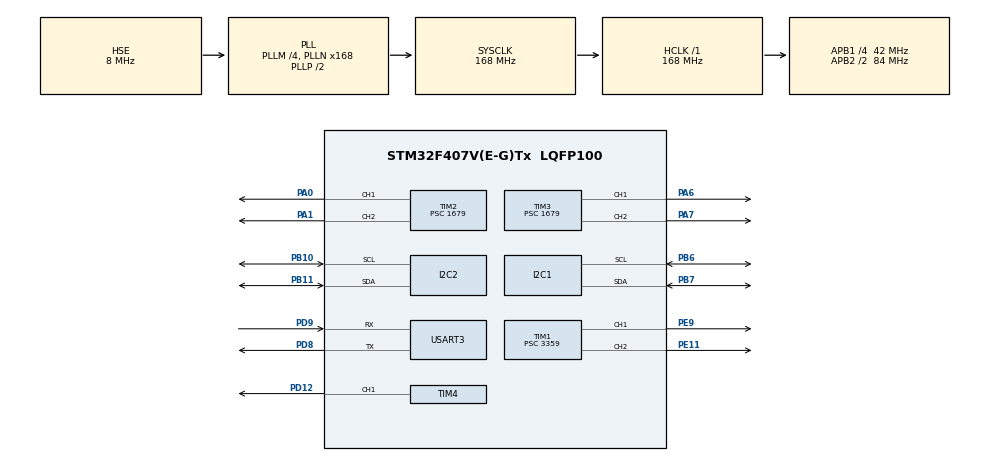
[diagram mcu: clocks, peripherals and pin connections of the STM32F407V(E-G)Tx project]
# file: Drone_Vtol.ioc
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Mcu.Family=STM32F4
Mcu.Name=STM32F407V(E-G)Tx
Mcu.Package=LQFP100
NVIC.PriorityGroup=NVIC_PRIORITYGROUP_4
NVIC.USART3_IRQn=true\:0\:0\:false\:false\:true\:true\:true\:true
PA0-WKUP.Signal=S_TIM2_CH1_ETR
PA1.Signal=S_TIM2_CH2
PA13.Mode=Serial_Wire
PA13.Signal=SYS_JTMS-SWDIO
PA14.Mode=Serial_Wire
PA14.Signal=SYS_JTCK-SWCLK
PA6.Signal=S_TIM3_CH1
PA7.Signal=S_TIM3_CH2
PB10.Mode=I2C
PB10.Signal=I2C2_SCL
PB11.Mode=I2C
PB11.Signal=I2C2_SDA
PB6.Mode=I2C
PB6.Signal=I2C1_SCL
PB7.Mode=I2C
PB7.Signal=I2C1_SDA
PD12.Signal=S_TIM4_CH1
PD8.Mode=Asynchronous
PD8.Signal=USART3_TX
PD9.Mode=Asynchronous
PD9.Signal=USART3_RX
PE11.Signal=S_TIM1_CH2
PE9.Signal=S_TIM1_CH1
PH0-OSC_IN.Mode=HSE-External-Oscillator
PH0-OSC_IN.Signal=RCC_OSC_IN
PH1-OSC_OUT.Mode=HSE-External-Oscillator
PH1-OSC_OUT.Signal=RCC_OSC_OUT
ProjectManager.HeapSize=0x200
ProjectManager.StackSize=0x400
ProjectManager.TargetToolchain=EWARM V8.50
RCC.48MHZClocksFreq_Value=84000000
RCC.AHBFreq_Value=168000000
RCC.APB1CLKDivider=RCC_HCLK_DIV4
RCC.APB1Freq_Value=42000000
RCC.APB1TimFreq_Value=84000000
RCC.APB2CLKDivider=RCC_HCLK_DIV2
RCC.APB2Freq_Value=84000000
RCC.APB2TimFreq_Value=168000000
RCC.CortexFreq_Value=168000000
RCC.HCLKFreq_Value=168000000
RCC.HSE_VALUE=8000000
RCC.HSI_VALUE=16000000
RCC.LSE_VALUE=32768
RCC.PLLM=4
RCC.PLLN=168
RCC.PLLSourceVirtual=RCC_PLLSOURCE_HSE
RCC.SYSCLKFreq_VALUE=168000000
RCC.SYSCLKSource=RCC_SYSCLKSOURCE_PLLCLK
RCC.VCOOutputFreq_Value=336000000
SH.S_TIM1_CH1.0=TIM1_CH1,PWM Generation1 CH1
SH.S_TIM1_CH2.0=TIM1_CH2,PWM Generation2 CH2
SH.S_TIM2_CH1_ETR.0=TIM2_CH1,PWM Generation1 CH1
SH.S_TIM2_CH2.0=TIM2_CH2,PWM Generation2 CH2
SH.S_TIM3_CH1.0=TIM3_CH1,PWM Generation1 CH1
SH.S_TIM3_CH2.0=TIM3_CH2,PWM Generation2 CH2
SH.S_TIM4_CH1.0=TIM4_CH1,PWM Generation1 CH1
TIM1.Channel-PWM\ Generation1\ CH1=TIM_CHANNEL_1
TIM1.Channel-PWM\ Generation2\ CH2=TIM_CHANNEL_2
TIM1.Period=999
TIM1.Prescaler=3359
TIM2.Channel-PWM\ Generation1\ CH1=TIM_CHANNEL_1
TIM2.Channel-PWM\ Generation2\ CH2=TIM_CHANNEL_2
TIM2.Period=999
TIM2.Prescaler=1679
TIM3.Channel-PWM\ Generation1\ CH1=TIM_CHANNEL_1
TIM3.Channel-PWM\ Generation2\ CH2=TIM_CHANNEL_2
TIM3.Period=999
TIM3.Prescaler=1679
TIM4.Channel-PWM\ Generation1\ CH1=TIM_CHANNEL_1
TIM4.Period=999
TIM4.Prescaler=1679
USART3.VirtualMode=VM_ASYNC
board=custom

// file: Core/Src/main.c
/* USER CODE BEGIN Header */
/**
  ******************************************************************************
  * @file           : main.c
  * @brief          : Main program body
  ******************************************************************************
  * @attention
  *
  * Copyright (c) 2023 Nguyen Ngoc Quy HCMUTE K20.
  * Mechatronic Engineering.
  * Gmail: quynguyenlk3402@gmail.com
  * Phone Number: +84 818 711 550
  * All rights reserved.
  * Introducing Our Team's VTOL Drone Copyright: Elevating Aerial Innovation.
  * This software is licensed under terms that can be found in the LICENSE file
  * Join us on this exciting journey as we share the future of aerial technology
  * Our VTOL Drone Copyright symbolizes progress, sustainability, and positive impact
  * on a global scale.
  *
  *
  ******************************************************************************
  */
/* USER CODE END Header */
#include "main.h"

/* USER CODE BEGIN Includes */
#include "math.h"
/* USER CODE END Includes */

I2C_HandleTypeDef hi2c1;
I2C_HandleTypeDef hi2c2;

TIM_HandleTypeDef htim1;
TIM_HandleTypeDef htim2;
TIM_HandleTypeDef htim3;
TIM_HandleTypeDef htim4;

UART_HandleTypeDef huart3;

/* USER CODE BEGIN PV */
uint8_t buffer[10];
uint8_t rx_buffer[8];
int a = 1051;
/* USER CODE END PV */

void SystemClock_Config(void);
static void MX_GPIO_Init(void);
static void MX_I2C1_Init(void);
static void MX_USART3_UART_Init(void);
static void MX_TIM1_Init(void);
static void MX_TIM2_Init(void);
static void MX_TIM3_Init(void);
static void MX_TIM4_Init(void);
static void MX_I2C2_Init(void);

/* USER CODE BEGIN 0 */

/*!---Register MPU6050---*/
#define MPU6050_ADDR                    0xD0
#define SMPLRT_DIV_REG                  0x19

/* Config angle */
#define GYRO_CONFIG_REG                 0X1B
/* Degree X */
#define GYRO_XOUT_H_REG                 0x43
#define GYRO_XOUT_L_REG                 0x44
/* Deree Y */
#define GYRO_YOUT_H_REG                 0x45
#define GYRO_YOUT_L_REG                 0x46
/* Degree Z */
#define GYRO_ZOUT_H_REG                 0x47
#define GYRO_ZOUT_L_REG                 0x48

/* Config Acceleration */
#define ACCEL_CONFIG_REG                0x1C
/* Axis X */
#define ACCEL_XOUT_H_REG                0x3B
#define ACCEL_XOUT_L_REG                0x3C
/* Axis Y */
#define ACCEL_YOUT_H_REG                0x3D
#define ACCEL_YOUT_L_REG                0x3E
/* Axis Z */
#define ACCEL_ZOUT_H_REG                0x3F
#define ACCEL_ZOUT_L_REG                0x40

#define TEMP_OUT_H_REG                  0x41
#define PWR_MGMT_1_REG                  0x6B
#define WHO_AM_I_REG                    0x75
/* Kp,Ki cho imu */
#define Kp 0.01f
#define Ki 0.002f
#define halfT 0.001f
#define RAD_TO_DEG 57.295779513082320876798154814105
#define DEG_TO_RAD 0.0174532925199432957692369076848
#define timeout 100

int16_t Accel_X_RAW = 0;
int16_t Accel_Y_RAW = 0;
int16_t Accel_Z_RAW = 0;

int16_t Gyro_X_RAW = 0;
int16_t Gyro_Y_RAW = 0;
int16_t Gyro_Z_RAW = 0;

int AngX;
int AngY;
int AngZ;
uint16_t timer = 0;

float Ax, Ay, Az, Gx, Gy, Gz, W;
int Roll, Pitch, Yaw;
int RateCalibrationNumber;
float RateCalibrateRoll, RateCalibratePitch, RateCalibrateYaw;

/*!--- Kalman filter ---!*/
float KalmanAngleRoll=0, KalmanUncertaintyAngleRoll=2*2;
float KalmanAnglePitch=0, KalmanUncertaintyAnglePitch=2*2;
float Kalman1DOutput[]={0,0};

/*!--- PWM ---!*/
#define ANGLE_MIN               (float)0
#define ANGLE_MAX               (float)180

#define PWM_PULSE_WIDTH_MIN     (float)710 // us
#define PWM_PULSE_WIDTH_CENTER  (float)1520 // us
#define PWM_PULSE_WIDTH_MAX     (float)2660 // us

#define PWM_PULSE_VALUE_0       (float)76 // 50 Hz
#define PWM_PULSE_MIN_0         PWM_PULSE_VALUE_0 * PWM_PULSE_WIDTH_MIN / PWM_PULSE_WIDTH_CENTER
#define PWM_PULSE_MAX_0         PWM_PULSE_VALUE_0 * PWM_PULSE_WIDTH_MAX / PWM_PULSE_WIDTH_CENTER

int bldc_left, bldc_right, canhta_left, canhta_right, canhduoi, canhgap_left, canhgap_right;
int test, goc;

/*!--- PID ---*/
int Time, Time_Previous;
float PID_Return[]={0,0,0};
float DesiredRateRoll, DesiredRatePitch, DesiredRateYaw;
float ErrorRateRoll, ErrorRatePitch, ErrorRateYaw;
float InputRoll, InputThrottle, InputPitch, InputYaw;
float PrevErrorRateRoll, PrevErrorRatePitch, PrevErrorRateYaw;
float PrevItermRateRoll, PrevItermRatePitch, PrevItermRateYaw;
// Sameple PID
float PRateRoll=0.6 ; float PRatePitch=0.6; float PRateYaw=2;
float IRateRoll=3.5 ; float IRatePitch=3.5; float IRateYaw=12;
float DRateRoll=0.03 ; float DRatePitch=0.03; float DRateYaw=0;
float MotorInput1, MotorInput2;
float DesiredAngleRoll, DesiredAnglePitch;
float ErrorAngleRoll, ErrorAnglePitch;
float PrevErrorAngleRoll, PrevErrorAnglePitch;
float PrevItermAngleRoll, PrevItermAnglePitch;
float PAngleRoll=2; float PAnglePitch=2;
float IAngleRoll=0; float IAnglePitch=0;
float DAngleRoll=0; float DAnglePitch=0;

/*!--- Kalman ---!*/
//Kalman 1D
void kalman_1d(float KalmanState, float KalmanUncertainty, float KalmanInput, float KalmanMeasurement) {
  KalmanState=KalmanState+0.004*KalmanInput;
  KalmanUncertainty=KalmanUncertainty + 0.004 * 0.004 * 4 * 4;
  float KalmanGain=KalmanUncertainty * 1/(1*KalmanUncertainty + 3 * 3);
  KalmanState=KalmanState+KalmanGain * (
  KalmanMeasurement-KalmanState);
  KalmanUncertainty=(1-KalmanGain) * KalmanUncertainty;
  Kalman1DOutput[0]=KalmanState;
  Kalman1DOutput[1]=KalmanUncertainty;
}

/*!--- IMU ---!*/
void MPU6050_Init(void)
{
  uint8_t check;
  uint8_t Data;
  // Check device ID WHO_AM_I
  HAL_I2C_Mem_Read(&hi2c1, MPU6050_ADDR, WHO_AM_I_REG,1, &check, 1, timeout);
  if (check == 104)  // 0x68 will be returned by the sensor if everything goes well
  {
    // Power management register 0x6B we should write all 0's to wake the sensor up
    Data = 0;
    HAL_I2C_Mem_Write(&hi2c1, MPU6050_ADDR, PWR_MGMT_1_REG, 1, &Data, 1, timeout);
    // Set data rate of 1kHz by writing SMPLRT_DIV register
    Data = 0x07;
    HAL_I2C_Mem_Write(&hi2c1, MPU6050_ADDR, SMPLRT_DIV_REG, 1, &Data, 1, timeout);
    // Set accelrometer configuration in ACCEL_CONFIG Register
    // XA_ST = 0, YA_ST = 0, ZA_ST = 0, FS_SEL = 0 -> +- 2g
    Data = 0x00;
    HAL_I2C_Mem_Write(&hi2c1, MPU6050_ADDR, ACCEL_CONFIG_REG, 1, &Data, 1, timeout);
    // Set Gyroscopic configuration in GYRO_CONFIG Register
    // XA_ST = 0, YG_ST = 0, ZG_ST = 0, FS_SEL = 0 -> +- 250 degree/s
    Data = 0x00;
    HAL_I2C_Mem_Write(&hi2c1, MPU6050_ADDR, GYRO_CONFIG_REG, 1, &Data, 1, timeout);
  }
}

void MPU6050_Read_Accel (void)
{
    uint8_t Rec_Data[6];
    // Read 6 BYTES of data starting from ACCEL_XOUT_H register
    HAL_I2C_Mem_Read (&hi2c1, MPU6050_ADDR, ACCEL_XOUT_H_REG, 1, Rec_Data, 6, timeout);
    Accel_X_RAW = (int16_t)(Rec_Data[0] << 8 | Rec_Data [1]);
    Accel_Y_RAW = (int16_t)(Rec_Data[2] << 8 | Rec_Data [3]);
    Accel_Z_RAW = (int16_t)(Rec_Data[4] << 8 | Rec_Data [5]);
    // Implamentation value Accel
    Ax = Accel_X_RAW/16384.0;
    Ay = Accel_Y_RAW/16384.0;
    Az = Accel_Z_RAW/16384.0;
}

void MPU6050_Read_Gyro (void)
{
    uint8_t Rec_Data[6];
    // Read 6 BYTES of data starting from GYRO_XOUT_H register
    HAL_I2C_Mem_Read (&hi2c1, MPU6050_ADDR, GYRO_XOUT_H_REG, 1, Rec_Data, 6, timeout);
    Gyro_X_RAW = (int16_t)(Rec_Data[0] << 8 | Rec_Data [1]);
    Gyro_Y_RAW = (int16_t)(Rec_Data[2] << 8 | Rec_Data [3]);
    Gyro_Z_RAW = (int16_t)(Rec_Data[4] << 8 | Rec_Data [5]);
    // Implamentation value Gyro
    Gx = Gyro_X_RAW/131.0;
    Gy = Gyro_Y_RAW/131.0;
    Gz = Gyro_Z_RAW/131.0;
}

void MPU6050_Read_All(void)
{
  MPU6050_Read_Accel();
  MPU6050_Read_Gyro();
  Roll = atan(Ay/sqrt(Ax*Ax+Az*Az))*1/(DEG_TO_RAD);
  Pitch = -atan(Ax/sqrt(Ay*Ay+Az*Az))*1/(DEG_TO_RAD);
  Yaw = Gz;
}

void calibrate_MPU6050(void)
{
  for(RateCalibrationNumber = 0; RateCalibrationNumber < 2000; RateCalibrationNumber++)
  {
    MPU6050_Read_All();
    RateCalibrateRoll+=Gx;
    RateCalibratePitch+=Gy;
    RateCalibrateYaw+=Gz;
    HAL_Delay(1);
  }
  RateCalibrateRoll/=2000;
  RateCalibratePitch/=2000;
  RateCalibrateYaw/=2000;
}

/*!--- PWM ---!*/
double map(float Value, float Input_Min, float Input_Max, float Output_Min, float Output_Max)
{
  if (Value < Input_Min) Value = Input_Min;
  if (Value > Input_Max) Value = Input_Max;
  double scale = (Output_Max - Output_Min) / (Input_Max - Input_Min);
  double result = Output_Min + (Value - Input_Min)*scale;
  return result;
}
/*
void set_angle(void)
{
  //BLDC
  htim1.Instance->CCR1 = bldc_left;
  htim1.Instance->CCR2 = bldc_right;
  //Canh Ta
  htim2.Instance->CCR1 = canhta_left;
  htim2.Instance->CCR2 = canhta_right;
  //Canh gap
  htim3.Instance->CCR1 = canhgap_left;
  htim3.Instance->CCR2 = canhgap_right;
  //Canh Duoi
  htim4.Instance->CCR3 = canhduoi;
}
*/
void Servo_set_angle(int Angle, int channel)
{
    if (Angle!= 255 )
    {
      if(channel==1)
      {
        htim1.Instance->CCR1 = lroundf(map(Angle,
                                 ANGLE_MIN, ANGLE_MAX,
                                 PWM_PULSE_MIN_0, PWM_PULSE_MAX_0));
      }
      if(channel==2)
      {
        htim1.Instance->CCR2 = lroundf(map(Angle,
                                 ANGLE_MIN, ANGLE_MAX,
                                 PWM_PULSE_MIN_0, PWM_PULSE_MAX_0));
      }

    }
    else
    {
      if(channel==1)
      {
        htim1.Instance->CCR1 = 0;
      }
      if(channel==2)
      {
        htim1.Instance->CCR2 = 0;
      }
    }
}

/*!--- PID Control ---!*/
// PID EQUATION
void PID_Equation(float Error, float Error_Previous, float P, float I, float D, float Iterm_Previous)
{
  /*
   Time_Previous = Time;
   Time = HAL_GetTick();
   int Real_Time = ((Time - Time_Previous)/1000); // seconds
   */

   float P_term = P*Error;
   float I_term = Iterm_Previous + I*(Error + Error_Previous)*0.02/2;
   if (I_term > 20) I_term = 20;
   else if (I_term < 20) I_term = -20;
   float D_term = D*((Error - Error_Previous)/0.02);
   float PID_Out = P_term + I_term + D_term;
   if (PID_Out > 20) PID_Out = 20;
   else if (PID_Out < 20) PID_Out = -20;
   PID_Return[0] = PID_Out;
   PID_Return[1] = Error;
   PID_Return[2] = I_term;
}
// RESET PID
void Reset_PID(void)
{
  PrevErrorRateRoll=0; PrevErrorRatePitch=0; PrevErrorRateYaw=0;
  PrevItermRateRoll=0; PrevItermRatePitch=0; PrevItermRateYaw=0;
  PrevErrorAngleRoll=0; PrevErrorAnglePitch=0;
  PrevItermAngleRoll=0; PrevItermAnglePitch=0;
}

// PID ANGLE CONTROL
void PID_Angle_Control(void)
{
  ErrorAngleRoll=DesiredAngleRoll-KalmanAngleRoll;
  ErrorAnglePitch=DesiredAnglePitch-KalmanAnglePitch;
  // PID ANGLE ROLL
  PID_Equation(ErrorAngleRoll, PrevErrorAngleRoll, PAngleRoll, IAngleRoll, DAngleRoll, PrevItermAngleRoll);
  DesiredRateRoll = PID_Return[0];
  PrevErrorAngleRoll = PID_Return[1];
  PrevItermAngleRoll = PID_Return[2];
  // PID ANGLE PITCH
  PID_Equation(ErrorAnglePitch, PrevErrorAnglePitch, PAnglePitch, IAnglePitch, DAnglePitch, PrevItermAnglePitch);
  DesiredRatePitch = PID_Return[0];
  PrevErrorAnglePitch = PID_Return[1];
  PrevItermAnglePitch = PID_Return[2];
}

// PID CONTROL
void PID_Control(void)
{
  ErrorRateRoll=DesiredRateRoll-Gx;
  ErrorRatePitch=DesiredRatePitch-Gy;
  ErrorRateYaw=DesiredRateYaw-Gz;
  // PID ROLL
  PID_Equation(ErrorRateRoll, PrevErrorRateRoll, PRateRoll, IRateRoll, DRateRoll, PrevItermRateRoll);
  InputRoll = PID_Return[0];
  PrevErrorRateRoll = PID_Return[1];
  PrevItermRateRoll = PID_Return[2];
  // PID PITCH
  PID_Equation(ErrorRatePitch, PrevErrorRatePitch, PRatePitch, IRatePitch, DRatePitch, PrevItermRatePitch);
  InputPitch = PID_Return[0];
  PrevErrorRatePitch = PID_Return[1];
  PrevItermRatePitch = PID_Return[2];
  // PID YAW
  PID_Equation(ErrorRateYaw, PrevErrorRateYaw, PRateYaw, IRateYaw, DRateYaw, PrevItermRateYaw);
  InputYaw = PID_Return[0];
  PrevErrorRateYaw = PID_Return[1];
  PrevItermRateYaw = PID_Return[2];
  /*
  // Control
  if (InputThrottle > 1800) InputThrottle = 1800;
  bldc_left = 0.20475*(InputThrottle-InputRoll-InputPitch-InputYaw);
  bldc_right = 0.20475*(InputThrottle-InputRoll+InputPitch+InputYaw);
  if (bldc_left > 2000) bldc_left = 1999;
  if (bldc_right > 2000) bldc_right = 1999;
  int ThrottleIdle = 1180;
  if (bldc_left < ThrottleIdle) bldc_left = ThrottleIdle;
  if (bldc_right < ThrottleIdle) bldc_right = ThrottleIdle;
  int ThrottleCutOff = 1000;
  if (a<1050)
  {
    bldc_left = ThrottleCutOff;
    bldc_right = ThrottleCutOff;
    Reset_PID();
  }
*/
 Servo_set_angle(bldc_left,1);
 Servo_set_angle(bldc_right,2);
}

/*!--- UART ---!*/
/*
void HAL_UARTEx_RxEventCallback(UART_HandleTypeDef *huart, uint16_t Size)
{
 if(huart->Instance==USART2)
 {
     HAL_UARTEx_ReceiveToIdle_IT(&huart3,rx_buffer,8);
 }
}
void recevie_data(void)
{
  if (rx_buffer[0] == 0x32)
  {
    bldc_left = rx_buffer[1];
    bldc_right = rx_buffer[2];
    canhta_left = rx_buffer[3];
    canhta_right = rx_buffer[4];
    canhgap_left = rx_buffer[5];
    canhgap_right = rx_buffer[6];
    canhduoi = rx_buffer[7];
    set_angle();
  }
  HAL_Delay(50);
}
*/
/*
void HAL_UARTEx_RxEventCallback(UART_HandleTypeDef *huart, uint16_t Size)
{
  if (huart->Instance == USART3)
  {
    HAL_UARTEx_ReceiveToIdle_IT(&huart3, buffer, 10);
    if (Size == 9)
    {
      if (buffer[0] == 0xAA)
      {
        for (uint8_t channel = 0; channel < 8; channel ++)
        {
          Angle[channel] = buffer[channel + 1];
        }
      }
    }
  }
}
*/
/* USER CODE END 0 */

int main(void)
{

  /* MCU Configuration--------------------------------------------------------*/

  /* Reset of all peripherals, Initializes the Flash interface and the Systick. */
  HAL_Init();

  /* Configure the system clock */
  SystemClock_Config();

  /* Initialize all configured peripherals */
  MX_GPIO_Init();
  MX_I2C1_Init();
  MX_USART3_UART_Init();
  MX_TIM1_Init();
  MX_TIM2_Init();
  MX_TIM3_Init();
  MX_TIM4_Init();
  MX_I2C2_Init();
  /* USER CODE BEGIN 2 */
  HAL_TIM_PWM_Start(&htim1, TIM_CHANNEL_1);
  HAL_TIM_PWM_Start(&htim1, TIM_CHANNEL_2);
  HAL_TIM_PWM_Start(&htim2, TIM_CHANNEL_1);
  HAL_TIM_PWM_Start(&htim2, TIM_CHANNEL_2);
  HAL_TIM_PWM_Start(&htim3, TIM_CHANNEL_1);
  HAL_TIM_PWM_Start(&htim3, TIM_CHANNEL_2);
  HAL_TIM_PWM_Start(&htim4, TIM_CHANNEL_1);
  //HAL_UARTEx_ReceiveToIdle_IT(&huart3,rx_buffer,7);

  MPU6050_Init();
  calibrate_MPU6050();
  HAL_Delay(2000);

  /* USER CODE END 2 */

  /* Infinite loop */
  while (1)
  {

    /* USER CODE BEGIN 3 */
    /*!--- Test IMU ---!*/
    MPU6050_Read_All();
    Gx-=RateCalibrateRoll;
    Gy-=RateCalibratePitch;
    Gz-=RateCalibrateYaw;

    /*!--- Kalman ---!*/
    kalman_1d(KalmanAngleRoll, KalmanUncertaintyAngleRoll, Gx, Roll);
    KalmanAngleRoll = Kalman1DOutput[0];
    KalmanUncertaintyAngleRoll = Kalman1DOutput[1];
    kalman_1d(KalmanAnglePitch, KalmanUncertaintyAnglePitch, Gy, Pitch);
    KalmanAnglePitch = Kalman1DOutput[0];
    KalmanUncertaintyAnglePitch = Kalman1DOutput[1];

    /*!--- USART ---!*/
    /*
    recevie_data();
    DesiredRateRoll=0.15*(rx_buffer[1]-1500);
    DesiredRatePitch=0.15*(rx_buffer[2]-1500);
    InputThrottle=rx_buffer[3];
    DesiredRateYaw=0.15*(rx_buffer[4]-1500);
    */

    /*!--- Rate Roll_Pitch_Yaw ---!*/
    PID_Angle_Control();
    /*!--- Test pwm ---!*/
    PID_Control();
    /*
    Servo_set_angle(test,1);
    Servo_set_angle(test,2);
    */
    //set_angle();
    //IMU_Update();
    //HAL_Delay(50);
  }
  /* USER CODE END 3 */
}

void SystemClock_Config(void)
{
  RCC_OscInitTypeDef RCC_OscInitStruct = {0};
  RCC_ClkInitTypeDef RCC_ClkInitStruct = {0};

  /** Configure the main internal regulator output voltage
  */
  __HAL_RCC_PWR_CLK_ENABLE();
  __HAL_PWR_VOLTAGESCALING_CONFIG(PWR_REGULATOR_VOLTAGE_SCALE1);

  /** Initializes the RCC Oscillators according to the specified parameters
  * in the RCC_OscInitTypeDef structure.
  */
  RCC_OscInitStruct.OscillatorType = RCC_OSCILLATORTYPE_HSE;
  RCC_OscInitStruct.HSEState = RCC_HSE_ON;
  RCC_OscInitStruct.PLL.PLLState = RCC_PLL_ON;
  RCC_OscInitStruct.PLL.PLLSource = RCC_PLLSOURCE_HSE;
  RCC_OscInitStruct.PLL.PLLM = 4;
  RCC_OscInitStruct.PLL.PLLN = 168;
  RCC_OscInitStruct.PLL.PLLP = RCC_PLLP_DIV2;
  RCC_OscInitStruct.PLL.PLLQ = 4;
  if (HAL_RCC_OscConfig(&RCC_OscInitStruct) != HAL_OK)
  {
    Error_Handler();
  }

  /** Initializes the CPU, AHB and APB buses clocks
  */
  RCC_ClkInitStruct.ClockType = RCC_CLOCKTYPE_HCLK|RCC_CLOCKTYPE_SYSCLK
                              |RCC_CLOCKTYPE_PCLK1|RCC_CLOCKTYPE_PCLK2;
  RCC_ClkInitStruct.SYSCLKSource = RCC_SYSCLKSOURCE_PLLCLK;
  RCC_ClkInitStruct.AHBCLKDivider = RCC_SYSCLK_DIV1;
  RCC_ClkInitStruct.APB1CLKDivider = RCC_HCLK_DIV4;
  RCC_ClkInitStruct.APB2CLKDivider = RCC_HCLK_DIV2;

  if (HAL_RCC_ClockConfig(&RCC_ClkInitStruct, FLASH_LATENCY_5) != HAL_OK)
  {
    Error_Handler();
  }
}

static void MX_I2C1_Init(void)
{

  hi2c1.Instance = I2C1;
  hi2c1.Init.ClockSpeed = 100000;
  hi2c1.Init.DutyCycle = I2C_DUTYCYCLE_2;
  hi2c1.Init.OwnAddress1 = 0;
  hi2c1.Init.AddressingMode = I2C_ADDRESSINGMODE_7BIT;
  hi2c1.Init.DualAddressMode = I2C_DUALADDRESS_DISABLE;
  hi2c1.Init.OwnAddress2 = 0;
  hi2c1.Init.GeneralCallMode = I2C_GENERALCALL_DISABLE;
  hi2c1.Init.NoStretchMode = I2C_NOSTRETCH_DISABLE;
  if (HAL_I2C_Init(&hi2c1) != HAL_OK)
  {
    Error_Handler();
  }

}

static void MX_I2C2_Init(void)
{

  hi2c2.Instance = I2C2;
  hi2c2.Init.ClockSpeed = 100000;
  hi2c2.Init.DutyCycle = I2C_DUTYCYCLE_2;
  hi2c2.Init.OwnAddress1 = 0;
  hi2c2.Init.AddressingMode = I2C_ADDRESSINGMODE_7BIT;
  hi2c2.Init.DualAddressMode = I2C_DUALADDRESS_DISABLE;
  hi2c2.Init.OwnAddress2 = 0;
  hi2c2.Init.GeneralCallMode = I2C_GENERALCALL_DISABLE;
  hi2c2.Init.NoStretchMode = I2C_NOSTRETCH_DISABLE;
  if (HAL_I2C_Init(&hi2c2) != HAL_OK)
  {
    Error_Handler();
  }

}

static void MX_TIM1_Init(void)
{

  TIM_MasterConfigTypeDef sMasterConfig = {0};
  TIM_OC_InitTypeDef sConfigOC = {0};
  TIM_BreakDeadTimeConfigTypeDef sBreakDeadTimeConfig = {0};

  htim1.Instance = TIM1;
  htim1.Init.Prescaler = 3359;
  htim1.Init.CounterMode = TIM_COUNTERMODE_UP;
  htim1.Init.Period = 999;
  htim1.Init.ClockDivision = TIM_CLOCKDIVISION_DIV1;
  htim1.Init.RepetitionCounter = 0;
  htim1.Init.AutoReloadPreload = TIM_AUTORELOAD_PRELOAD_DISABLE;
  if (HAL_TIM_PWM_Init(&htim1) != HAL_OK)
  {
    Error_Handler();
  }
  sMasterConfig.MasterOutputTrigger = TIM_TRGO_RESET;
  sMasterConfig.MasterSlaveMode = TIM_MASTERSLAVEMODE_DISABLE;
  if (HAL_TIMEx_MasterConfigSynchronization(&htim1, &sMasterConfig) != HAL_OK)
  {
    Error_Handler();
  }
  sConfigOC.OCMode = TIM_OCMODE_PWM1;
  sConfigOC.Pulse = 0;
  sConfigOC.OCPolarity = TIM_OCPOLARITY_HIGH;
  sConfigOC.OCNPolarity = TIM_OCNPOLARITY_HIGH;
  sConfigOC.OCFastMode = TIM_OCFAST_DISABLE;
  sConfigOC.OCIdleState = TIM_OCIDLESTATE_RESET;
  sConfigOC.OCNIdleState = TIM_OCNIDLESTATE_RESET;
  if (HAL_TIM_PWM_ConfigChannel(&htim1, &sConfigOC, TIM_CHANNEL_1) != HAL_OK)
  {
    Error_Handler();
  }
  if (HAL_TIM_PWM_ConfigChannel(&htim1, &sConfigOC, TIM_CHANNEL_2) != HAL_OK)
  {
    Error_Handler();
  }
  sBreakDeadTimeConfig.OffStateRunMode = TIM_OSSR_DISABLE;
  sBreakDeadTimeConfig.OffStateIDLEMode = TIM_OSSI_DISABLE;
  sBreakDeadTimeConfig.LockLevel = TIM_LOCKLEVEL_OFF;
  sBreakDeadTimeConfig.DeadTime = 0;
  sBreakDeadTimeConfig.BreakState = TIM_BREAK_DISABLE;
  sBreakDeadTimeConfig.BreakPolarity = TIM_BREAKPOLARITY_HIGH;
  sBreakDeadTimeConfig.AutomaticOutput = TIM_AUTOMATICOUTPUT_DISABLE;
  if (HAL_TIMEx_ConfigBreakDeadTime(&htim1, &sBreakDeadTimeConfig) != HAL_OK)
  {
    Error_Handler();
  }
  HAL_TIM_MspPostInit(&htim1);

}

static void MX_TIM2_Init(void)
{

  TIM_MasterConfigTypeDef sMasterConfig = {0};
  TIM_OC_InitTypeDef sConfigOC = {0};

  htim2.Instance = TIM2;
  htim2.Init.Prescaler = 1679;
  htim2.Init.CounterMode = TIM_COUNTERMODE_UP;
  htim2.Init.Period = 999;
  htim2.Init.ClockDivision = TIM_CLOCKDIVISION_DIV1;
  htim2.Init.AutoReloadPreload = TIM_AUTORELOAD_PRELOAD_DISABLE;
  if (HAL_TIM_PWM_Init(&htim2) != HAL_OK)
  {
    Error_Handler();
  }
  sMasterConfig.MasterOutputTrigger = TIM_TRGO_RESET;
  sMasterConfig.MasterSlaveMode = TIM_MASTERSLAVEMODE_DISABLE;
  if (HAL_TIMEx_MasterConfigSynchronization(&htim2, &sMasterConfig) != HAL_OK)
  {
    Error_Handler();
  }
  sConfigOC.OCMode = TIM_OCMODE_PWM1;
  sConfigOC.Pulse = 0;
  sConfigOC.OCPolarity = TIM_OCPOLARITY_HIGH;
  sConfigOC.OCFastMode = TIM_OCFAST_DISABLE;
  if (HAL_TIM_PWM_ConfigChannel(&htim2, &sConfigOC, TIM_CHANNEL_1) != HAL_OK)
  {
    Error_Handler();
  }
  if (HAL_TIM_PWM_ConfigChannel(&htim2, &sConfigOC, TIM_CHANNEL_2) != HAL_OK)
  {
    Error_Handler();
  }
  HAL_TIM_MspPostInit(&htim2);

}

static void MX_TIM3_Init(void)
{

  TIM_MasterConfigTypeDef sMasterConfig = {0};
  TIM_OC_InitTypeDef sConfigOC = {0};

  htim3.Instance = TIM3;
  htim3.Init.Prescaler = 1679;
  htim3.Init.CounterMode = TIM_COUNTERMODE_UP;
  htim3.Init.Period = 999;
  htim3.Init.ClockDivision = TIM_CLOCKDIVISION_DIV1;
  htim3.Init.AutoReloadPreload = TIM_AUTORELOAD_PRELOAD_DISABLE;
  if (HAL_TIM_PWM_Init(&htim3) != HAL_OK)
  {
    Error_Handler();
  }
  sMasterConfig.MasterOutputTrigger = TIM_TRGO_RESET;
  sMasterConfig.MasterSlaveMode = TIM_MASTERSLAVEMODE_DISABLE;
  if (HAL_TIMEx_MasterConfigSynchronization(&htim3, &sMasterConfig) != HAL_OK)
  {
    Error_Handler();
  }
  sConfigOC.OCMode = TIM_OCMODE_PWM1;
  sConfigOC.Pulse = 0;
  sConfigOC.OCPolarity = TIM_OCPOLARITY_HIGH;
  sConfigOC.OCFastMode = TIM_OCFAST_DISABLE;
  if (HAL_TIM_PWM_ConfigChannel(&htim3, &sConfigOC, TIM_CHANNEL_1) != HAL_OK)
  {
    Error_Handler();
  }
  if (HAL_TIM_PWM_ConfigChannel(&htim3, &sConfigOC, TIM_CHANNEL_2) != HAL_OK)
  {
    Error_Handler();
  }
  HAL_TIM_MspPostInit(&htim3);

}

static void MX_TIM4_Init(void)
{

  TIM_MasterConfigTypeDef sMasterConfig = {0};
  TIM_OC_InitTypeDef sConfigOC = {0};

  htim4.Instance = TIM4;
  htim4.Init.Prescaler = 1679;
  htim4.Init.CounterMode = TIM_COUNTERMODE_UP;
  htim4.Init.Period = 999;
  htim4.Init.ClockDivision = TIM_CLOCKDIVISION_DIV1;
  htim4.Init.AutoReloadPreload = TIM_AUTORELOAD_PRELOAD_DISABLE;
  if (HAL_TIM_PWM_Init(&htim4) != HAL_OK)
  {
    Error_Handler();
  }
  sMasterConfig.MasterOutputTrigger = TIM_TRGO_RESET;
  sMasterConfig.MasterSlaveMode = TIM_MASTERSLAVEMODE_DISABLE;
  if (HAL_TIMEx_MasterConfigSynchronization(&htim4, &sMasterConfig) != HAL_OK)
  {
    Error_Handler();
  }
  sConfigOC.OCMode = TIM_OCMODE_PWM1;
  sConfigOC.Pulse = 0;
  sConfigOC.OCPolarity = TIM_OCPOLARITY_HIGH;
  sConfigOC.OCFastMode = TIM_OCFAST_DISABLE;
  if (HAL_TIM_PWM_ConfigChannel(&htim4, &sConfigOC, TIM_CHANNEL_1) != HAL_OK)
  {
    Error_Handler();
  }
  HAL_TIM_MspPostInit(&htim4);

}

static void MX_USART3_UART_Init(void)
{

  huart3.Instance = USART3;
  huart3.Init.BaudRate = 115200;
  huart3.Init.WordLength = UART_WORDLENGTH_8B;
  huart3.Init.StopBits = UART_STOPBITS_1;
  huart3.Init.Parity = UART_PARITY_NONE;
  huart3.Init.Mode = UART_MODE_TX_RX;
  huart3.Init.HwFlowCtl = UART_HWCONTROL_NONE;
  huart3.Init.OverSampling = UART_OVERSAMPLING_16;
  if (HAL_UART_Init(&huart3) != HAL_OK)
  {
    Error_Handler();
  }

}

static void MX_GPIO_Init(void)
{

  /* GPIO Ports Clock Enable */
  __HAL_RCC_GPIOH_CLK_ENABLE();
  __HAL_RCC_GPIOA_CLK_ENABLE();
  __HAL_RCC_GPIOE_CLK_ENABLE();
  __HAL_RCC_GPIOB_CLK_ENABLE();
  __HAL_RCC_GPIOD_CLK_ENABLE();

}

void Error_Handler(void)
{
  __disable_irq();
  while (1)
  {
  }
}
